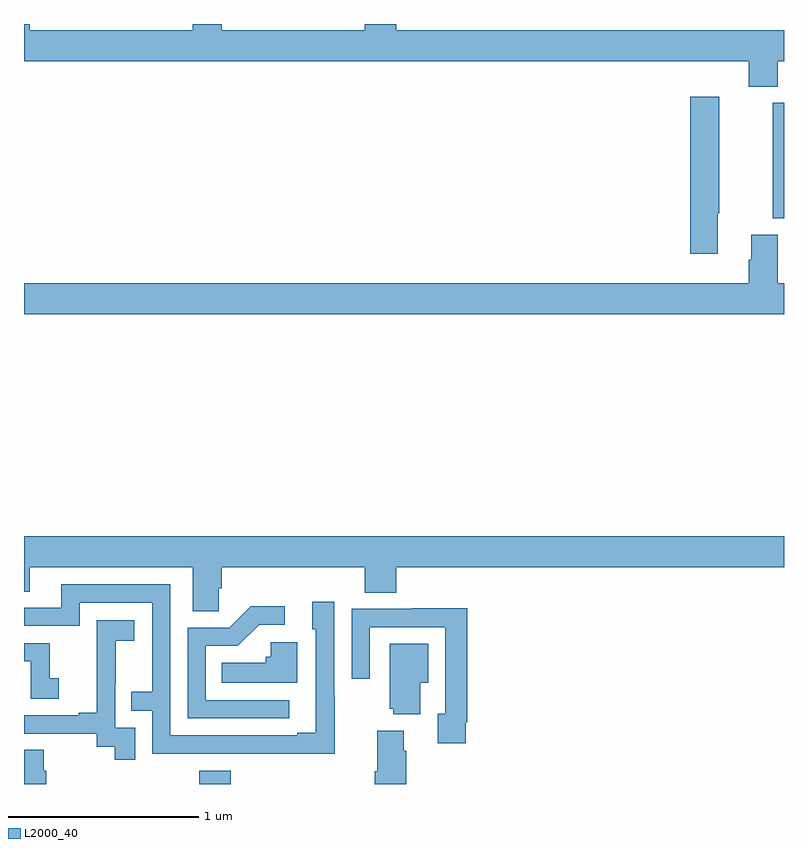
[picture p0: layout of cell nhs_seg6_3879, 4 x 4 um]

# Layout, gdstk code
import gdstk
lib = gdstk.Library(unit=1e-6, precision=1e-09)
def R(c, l, rs):  # rectangles x0, y0, x1, y1
    for r in rs: c.add(gdstk.rectangle(r[:2], r[2:], *l))
def P(c, l, *ps):  # polygons
    for p in ps: c.add(gdstk.Polygon(p, *l))
L2000_40 = (2000, 40)

nhs_seg6_3879 = lib.new_cell('nhs_seg6_3879')
R(nhs_seg6_3879, L2000_40, [(339.923,975.5,340.088,975.571), (342.942,978.477,343,979.086)])
P(nhs_seg6_3879, L2000_40, [(342.967,979.304),(343,979.304),(343,979.468),(340.958,979.468),(340.958,979.5),(340.793,979.5),(340.793,979.468),(340.04,979.468),(340.04,979.5),(339.887,979.5),(339.887,979.468),(339.031,979.468),(339.031,979.5),(339,979.5),(339,979.304),(342.815,979.304),(342.815,979.171),(342.967,979.171)],
  [(342.652,978.503),(342.66,978.503),(342.66,979.117),(342.506,979.117),(342.506,978.291),(342.652,978.291)],
  [(343,978.136),(342.967,978.136),(342.967,978.392),(342.827,978.392),(342.827,978.258),(342.815,978.258),(342.815,978.136),(339,978.136),(339,977.972),(343,977.972)],
  [(340.026,976.531),(340.04,976.531),(340.04,976.64),(340.793,976.64),(340.793,976.507),(340.958,976.507),(340.958,976.64),(343,976.64),(343,976.804),(339,976.804),(339,976.513),(339.031,976.513),(339.031,976.64),(339.887,976.64),(339.887,976.408),(340.026,976.408)],
  [(340.635,975.965),(340.632,975.965),(340.632,976.459),(340.517,976.459),(340.517,976.314),(340.536,976.314),(340.536,975.769),(340.439,975.769),(340.439,975.756),(339.771,975.756),(339.771,976.551),(339.197,976.551),(339.197,976.428),(339,976.428),(339,976.332),(339.294,976.332),(339.294,976.455),(339.675,976.455),(339.675,975.986),(339.565,975.986),(339.565,975.885),(339.675,975.885),(339.675,975.66),(340.171,975.66),(340.171,975.659),(340.635,975.659)],
  [(340.396,975.942),(339.957,975.942),(339.957,976.227),(340.126,976.227),(340.237,976.338),(340.372,976.338),(340.372,976.436),(340.193,976.436),(340.08,976.323),(339.861,976.323),(339.861,975.846),(340.396,975.846)],
  [(341.326,975.826),(341.333,975.826),(341.333,976.424),(341.041,976.424),(341.041,976.422),(340.725,976.422),(340.725,976.053),(340.821,976.053),(340.821,976.326),(341.217,976.326),(341.217,975.87),(341.177,975.87),(341.177,975.714),(341.326,975.714)],
  [(339.585,975.795),(339.48,975.795),(339.48,976.025),(339.482,976.025),(339.482,976.253),(339.58,976.253),(339.58,976.363),(339.382,976.363),(339.382,976.157),(339.383,976.157),(339.383,975.874),(339.287,975.874),(339.287,975.861),(339,975.861),(339,975.765),(339.384,975.765),(339.384,975.697),(339.477,975.697),(339.477,975.627),(339.585,975.627)],
  [(340.438,976.246),(340.299,976.246),(340.299,976.17),(340.273,976.17),(340.273,976.138),(340.042,976.138),(340.042,976.034),(340.438,976.034)],
  [(339.184,976.057),(339.135,976.057),(339.135,976.242),(339,976.242),(339,976.146),(339.036,976.146),(339.036,975.948),(339.184,975.948)],
  [(341.086,976.034),(341.128,976.034),(341.128,976.237),(340.925,976.237),(340.925,975.897),(340.943,975.897),(340.943,975.866),(341.086,975.866)],
  [(341.012,975.674),(340.999,975.674),(340.999,975.781),(340.859,975.781),(340.859,975.568),(340.847,975.568),(340.847,975.5),(341.012,975.5)],
  [(339.116,975.57),(339.103,975.57),(339.103,975.68),(339,975.68),(339,975.5),(339.116,975.5)])

lib.write_gds('nhs_seg6_3879.gds')
